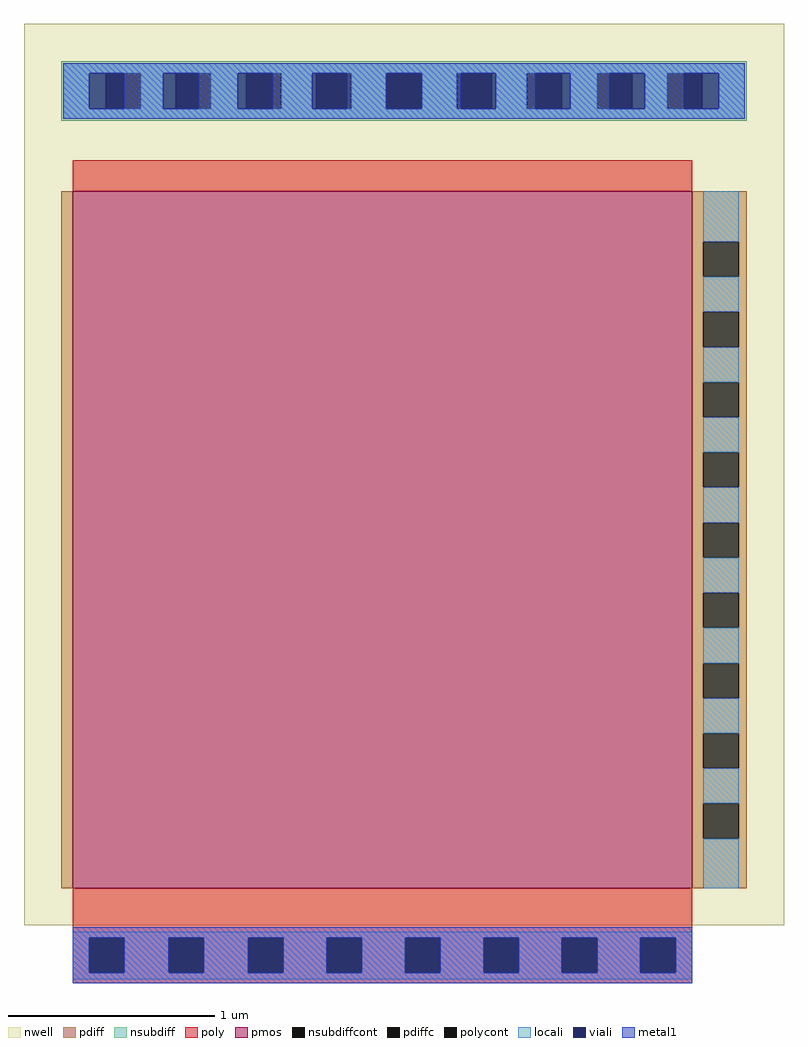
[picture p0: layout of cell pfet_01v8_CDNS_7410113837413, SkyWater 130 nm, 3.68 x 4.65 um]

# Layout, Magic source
magic
tech sky130A
magscale 1 2
<< nwell >>
rect -47 -36 689 837
<< pmos >>
rect 0 0 600 675
<< pdiff >>
rect -11 0 0 675
rect 600 626 653 675
rect 600 592 611 626
rect 645 592 653 626
rect 600 558 653 592
rect 600 524 611 558
rect 645 524 653 558
rect 600 490 653 524
rect 600 456 611 490
rect 645 456 653 490
rect 600 422 653 456
rect 600 388 611 422
rect 645 388 653 422
rect 600 354 653 388
rect 600 320 611 354
rect 645 320 653 354
rect 600 286 653 320
rect 600 252 611 286
rect 645 252 653 286
rect 600 218 653 252
rect 600 184 611 218
rect 645 184 653 218
rect 600 150 653 184
rect 600 116 611 150
rect 645 116 653 150
rect 600 82 653 116
rect 600 48 611 82
rect 645 48 653 82
rect 600 0 653 48
<< pdiffc >>
rect 611 592 645 626
rect 611 524 645 558
rect 611 456 645 490
rect 611 388 645 422
rect 611 320 645 354
rect 611 252 645 286
rect 611 184 645 218
rect 611 116 645 150
rect 611 48 645 82
<< nsubdiff >>
rect -11 789 653 801
rect -11 755 32 789
rect 66 755 100 789
rect 134 755 168 789
rect 202 755 236 789
rect 270 755 304 789
rect 338 755 372 789
rect 406 755 440 789
rect 474 755 508 789
rect 542 755 576 789
rect 610 755 653 789
rect -11 743 653 755
<< nsubdiffcont >>
rect 32 755 66 789
rect 100 755 134 789
rect 168 755 202 789
rect 236 755 270 789
rect 304 755 338 789
rect 372 755 406 789
rect 440 755 474 789
rect 508 755 542 789
rect 576 755 610 789
<< poly >>
rect 0 675 600 705
rect 0 -48 600 0
rect 0 -82 16 -48
rect 50 -82 93 -48
rect 127 -82 170 -48
rect 204 -82 246 -48
rect 280 -82 322 -48
rect 356 -82 398 -48
rect 432 -82 474 -48
rect 508 -82 550 -48
rect 584 -82 600 -48
rect 0 -92 600 -82
<< polycont >>
rect 16 -82 50 -48
rect 93 -82 127 -48
rect 170 -82 204 -48
rect 246 -82 280 -48
rect 322 -82 356 -48
rect 398 -82 432 -48
rect 474 -82 508 -48
rect 550 -82 584 -48
<< locali >>
rect -9 789 651 799
rect -9 755 16 789
rect 66 755 88 789
rect 134 755 160 789
rect 202 755 232 789
rect 270 755 304 789
rect 338 755 372 789
rect 410 755 440 789
rect 482 755 508 789
rect 554 755 576 789
rect 626 755 651 789
rect -9 745 651 755
rect 611 626 645 675
rect 611 558 645 592
rect 611 490 645 524
rect 611 422 645 456
rect 611 354 645 388
rect 611 286 645 320
rect 611 218 645 252
rect 611 150 645 184
rect 611 82 645 116
rect 611 0 645 48
rect 0 -48 600 -42
rect 0 -82 16 -48
rect 50 -82 93 -48
rect 127 -82 170 -48
rect 204 -82 246 -48
rect 280 -82 322 -48
rect 356 -82 398 -48
rect 432 -82 474 -48
rect 508 -82 550 -48
rect 584 -82 600 -48
rect 0 -88 600 -82
<< viali >>
rect 16 755 32 789
rect 32 755 50 789
rect 88 755 100 789
rect 100 755 122 789
rect 160 755 168 789
rect 168 755 194 789
rect 232 755 236 789
rect 236 755 266 789
rect 304 755 338 789
rect 376 755 406 789
rect 406 755 410 789
rect 448 755 474 789
rect 474 755 482 789
rect 520 755 542 789
rect 542 755 554 789
rect 592 755 610 789
rect 610 755 626 789
rect 16 -82 50 -48
rect 93 -82 127 -48
rect 170 -82 204 -48
rect 246 -82 280 -48
rect 322 -82 356 -48
rect 398 -82 432 -48
rect 474 -82 508 -48
rect 550 -82 584 -48
<< metal1 >>
rect -9 789 651 799
rect -9 755 16 789
rect 50 755 88 789
rect 122 755 160 789
rect 194 755 232 789
rect 266 755 304 789
rect 338 755 376 789
rect 410 755 448 789
rect 482 755 520 789
rect 554 755 592 789
rect 626 755 651 789
rect -9 745 651 755
rect 0 -48 600 -38
rect 0 -82 16 -48
rect 50 -82 93 -48
rect 127 -82 170 -48
rect 204 -82 246 -48
rect 280 -82 322 -48
rect 356 -82 398 -48
rect 432 -82 474 -48
rect 508 -82 550 -48
rect 584 -82 600 -48
rect 0 -92 600 -82
<< end >>
